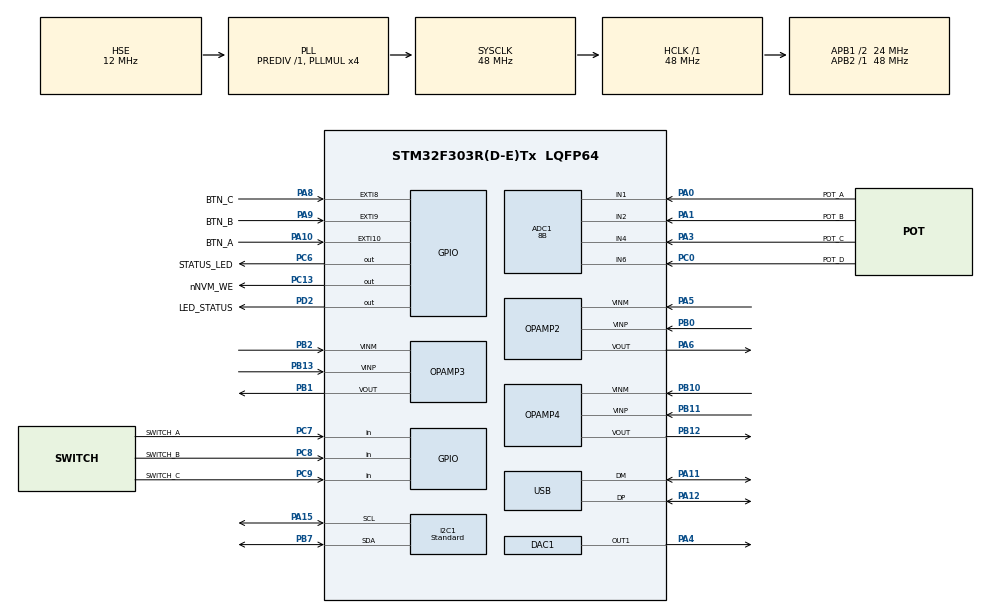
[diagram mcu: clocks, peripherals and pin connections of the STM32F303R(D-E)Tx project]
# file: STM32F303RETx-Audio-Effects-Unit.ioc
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ADC1.Channel-0\#ChannelRegularConversion=ADC_CHANNEL_1
ADC1.ContinuousConvMode=ENABLE
ADC1.DMAContinuousRequests=DISABLE
ADC1.EnableInjectedConversion=DISABLE
ADC1.NbrOfConversionFlag=1
ADC1.Offset-0\#ChannelRegularConversion=0
ADC1.OffsetNumber-0\#ChannelRegularConversion=ADC_OFFSET_NONE
ADC1.Rank-0\#ChannelRegularConversion=1
ADC1.Resolution=ADC_RESOLUTION_8B
ADC1.SamplingTime-0\#ChannelRegularConversion=ADC_SAMPLETIME_1CYCLE_5
ADC1.master=1
ADC3.Channel-0\#ChannelRegularConversion=ADC_CHANNEL_1
ADC3.ContinuousConvMode=ENABLE
ADC3.DMAContinuousRequests=ENABLE
ADC3.NbrOfConversionFlag=1
ADC3.Offset-0\#ChannelRegularConversion=0
ADC3.OffsetNumber-0\#ChannelRegularConversion=ADC_OFFSET_NONE
ADC3.Rank-0\#ChannelRegularConversion=1
ADC3.SamplingTime-0\#ChannelRegularConversion=ADC_SAMPLETIME_19CYCLES_5
ADC3.SamplingTimeOPAMP-0\#ChannelRegularConversion=ADC_SAMPLETIME_19CYCLES_5
ADC3.master=1
DAC1.DAC_Trigger=DAC_TRIGGER_T2_TRGO
Dma.ADC3.1.Direction=DMA_PERIPH_TO_MEMORY
Dma.ADC3.1.Instance=DMA2_Channel5
Dma.ADC3.1.MemDataAlignment=DMA_MDATAALIGN_HALFWORD
Dma.ADC3.1.MemInc=DMA_MINC_ENABLE
Dma.ADC3.1.Mode=DMA_CIRCULAR
Dma.ADC3.1.PeriphDataAlignment=DMA_PDATAALIGN_HALFWORD
Dma.ADC3.1.PeriphInc=DMA_PINC_DISABLE
Dma.ADC3.1.Priority=DMA_PRIORITY_LOW
Dma.DAC1_CH1.0.Direction=DMA_MEMORY_TO_PERIPH
Dma.DAC1_CH1.0.Instance=DMA1_Channel3
Dma.DAC1_CH1.0.MemDataAlignment=DMA_MDATAALIGN_HALFWORD
Dma.DAC1_CH1.0.MemInc=DMA_MINC_ENABLE
Dma.DAC1_CH1.0.Mode=DMA_CIRCULAR
Dma.DAC1_CH1.0.PeriphDataAlignment=DMA_PDATAALIGN_HALFWORD
Dma.DAC1_CH1.0.PeriphInc=DMA_PINC_DISABLE
Dma.DAC1_CH1.0.Priority=DMA_PRIORITY_LOW
Dma.MEMTOMEM.2.Direction=DMA_MEMORY_TO_MEMORY
Dma.MEMTOMEM.2.Instance=DMA1_Channel1
Dma.MEMTOMEM.2.MemDataAlignment=DMA_MDATAALIGN_HALFWORD
Dma.MEMTOMEM.2.MemInc=DMA_MINC_ENABLE
Dma.MEMTOMEM.2.Mode=DMA_NORMAL
Dma.MEMTOMEM.2.PeriphDataAlignment=DMA_PDATAALIGN_HALFWORD
Dma.MEMTOMEM.2.PeriphInc=DMA_PINC_ENABLE
Dma.MEMTOMEM.2.Priority=DMA_PRIORITY_LOW
Dma.Request0=DAC1_CH1
Dma.Request1=ADC3
Dma.Request2=MEMTOMEM
FREERTOS.BinarySemaphores01=delaySamplesDmaSemaphore,Static,delaySamplesDmaSemaphoreControlBlock;i2cCompletionSemaphore,Static,i2cCompletionSemaphoreControlBlock;i2cFailedRomSemaphore,Static,i2cFailedRomSemaphoreControlBlock;i2cFailedDisplaySemaphore,Static,i2cFailedDisplaySemaphoreControlBlock
FREERTOS.Queues01=i2cQueue,16,I2CHandlerMessage,0,Static,i2cQueueBuffer,i2cQueueControlBlock
FREERTOS.Tasks01=effectsTask,3,128,startEffectsTask,Default,NULL,Static,effectsTaskBuffer,effectsTaskControlBlock;btnHandlerTask,0,128,startBtnHandlerTask,Default,NULL,Static,btnHandlerTaskBuffer,btnHandlerTaskControlBlock;swHandlerTask,0,128,startSwHandlerTask,Default,NULL,Static,swHandlerTaskBuffer,swHandlerTaskControlBlock;potHandlerTask,0,128,startPotHandlerTask,Default,NULL,Static,potHandlerTaskBuffer,potHandlerTaskControlBlock;ledTask,0,128,startLedTask,Default,NULL,Static,ledTaskBuffer,ledTaskControlBlock;i2cHandlerTask,0,128,startI2cHandlerTask,Default,NULL,Static,i2cHandlerTaskBuffer,i2cHandlerTaskControlBlock;romHandlerTask,0,128,startRomHandlerTask,Default,NULL,Static,romHandlerTaskBuffer,romHandlerTaskControlBlock;displayHandlerTask,0,128,startDisplayHandlerTask,Default,NULL,Static,displayHandlerTaskBuffer,displayHandlerTaskControlBlock
FREERTOS.configMAX_TASK_NAME_LEN=24
FREERTOS.configUSE_COUNTING_SEMAPHORES=0
I2C1.I2C_Speed_Mode=I2C_Standard
I2C1.Timing=0x00201D2B
Mcu.Family=STM32F3
Mcu.Name=STM32F303R(D-E)Tx
Mcu.Package=LQFP64
NVIC.ADC1_2_IRQn=true\:5\:0\:false\:false\:true\:true\:true\:true\:true
NVIC.DMA1_Channel3_IRQn=true\:5\:0\:false\:false\:true\:true\:false\:true\:true
NVIC.DMA2_Channel5_IRQn=true\:5\:0\:false\:false\:true\:true\:false\:true\:true
NVIC.EXTI15_10_IRQn=true\:5\:0\:false\:false\:true\:true\:true\:true\:true
NVIC.EXTI9_5_IRQn=true\:5\:0\:false\:false\:true\:true\:true\:true\:true
NVIC.PriorityGroup=NVIC_PRIORITYGROUP_4
NVIC.TIM1_UP_TIM16_IRQn=true\:0\:0\:false\:false\:true\:false\:false\:true\:true
NVIC.TIM2_IRQn=true\:5\:0\:false\:false\:true\:true\:true\:true\:true
NVIC.TimeBase=TIM1_UP_TIM16_IRQn
NVIC.TimeBaseIP=TIM1
NVIC.USB_LP_CAN_RX0_IRQn=true\:5\:0\:false\:false\:true\:true\:false\:true\:true
PA0.GPIO_Label=POT_A
PA0.Mode=IN1-Single-Ended
PA0.Signal=ADC1_IN1
PA1.GPIO_Label=POT_B
PA1.Mode=IN2-Single-Ended
PA1.Signal=ADC1_IN2
PA10.GPIO_Label=BTN_A
PA10.Signal=GPXTI10
PA11.Mode=Device
PA11.Signal=USB_DM
PA12.Mode=Device
PA12.Signal=USB_DP
PA13.Mode=Trace_Asynchronous_SW
PA13.Signal=SYS_JTMS-SWDIO
PA14.Mode=Trace_Asynchronous_SW
PA14.Signal=SYS_JTCK-SWCLK
PA15.GPIO_Pu=GPIO_PULLUP
PA15.Mode=I2C
PA15.Signal=I2C1_SCL
PA3.GPIO_Label=POT_C
PA3.Mode=IN4-Single-Ended
PA3.Signal=ADC1_IN4
PA4.Signal=COMP_DAC11_group
PA5.Mode=Standalone
PA5.Signal=OPAMP2_VINM
PA6.Mode=Standalone
PA6.Signal=OPAMP2_VOUT
PA8.GPIO_Label=BTN_C
PA8.Signal=GPXTI8
PA9.GPIO_Label=BTN_B
PA9.Signal=GPXTI9
PB0.Mode=Standalone
PB0.Signal=OPAMP2_VINP
PB1.Mode=Standalone
PB1.Signal=OPAMP3_VOUT
PB10.Mode=Standalone
PB10.Signal=OPAMP4_VINM
PB11.Mode=Standalone
PB11.Signal=OPAMP4_VINP
PB12.Mode=Standalone
PB12.Signal=OPAMP4_VOUT
PB13.Mode=Standalone
PB13.Signal=OPAMP3_VINP
PB2.Mode=Standalone
PB2.Signal=OPAMP3_VINM
PB3.Mode=Trace_Asynchronous_SW
PB3.Signal=SYS_JTDO-TRACESWO
PB7.GPIO_Pu=GPIO_PULLUP
PB7.Mode=I2C
PB7.Signal=I2C1_SDA
PC0.GPIO_Label=POT_D
PC0.Signal=ADCx_IN6
PC13.GPIO_Label=nNVM_WE
PC13.PinState=GPIO_PIN_SET
PC13.Signal=GPIO_Output
PC6.GPIO_Label=STATUS_LED
PC6.Signal=GPIO_Output
PC7.GPIO_Label=SWITCH_A
PC7.Signal=GPIO_Input
PC8.GPIO_Label=SWITCH_B
PC8.Signal=GPIO_Input
PC9.GPIO_Label=SWITCH_C
PC9.Signal=GPIO_Input
PD2.GPIO_Label=LED_STATUS
PD2.Signal=GPIO_Output
PF0-OSC_IN.GPIO_Label=HSE_IN
PF0-OSC_IN.Mode=HSE-External-Oscillator
PF0-OSC_IN.Signal=RCC_OSC_IN
PF1-OSC_OUT.GPIO_Label=HSE_OUT
PF1-OSC_OUT.Mode=HSE-External-Oscillator
PF1-OSC_OUT.Signal=RCC_OSC_OUT
ProjectManager.HeapSize=0x200
ProjectManager.StackSize=0x400
ProjectManager.TargetToolchain=CMake
RCC.ADC12PRES=RCC_ADC12PLLCLK_DIV16
RCC.AHBFreq_Value=48000000
RCC.APB1CLKDivider=RCC_HCLK_DIV2
RCC.APB1Freq_Value=24000000
RCC.APB1TimFreq_Value=48000000
RCC.APB2Freq_Value=48000000
RCC.APB2TimFreq_Value=48000000
RCC.CortexFreq_Value=48000000
RCC.HCLKFreq_Value=48000000
RCC.HSE_VALUE=12000000
RCC.HSI_VALUE=8000000
RCC.LSE_VALUE=32768
RCC.PLLMUL=RCC_PLL_MUL4
RCC.SYSCLKFreq_VALUE=48000000
RCC.SYSCLKSourceVirtual=RCC_SYSCLKSOURCE_PLLCLK
RCC.USBFreq_Value=48000000
SH.ADCx_IN6.0=ADC1_IN6,IN6-Single-Ended
SH.COMP_DAC11_group.0=DAC1_OUT1,DAC_OUT1
TIM2.Channel-Output\ Compare1\ No\ Output=TIM_CHANNEL_1
TIM2.Period=1184
TIM2.Prescaler=1000-1
TIM2.TIM_MasterOutputTrigger=TIM_TRGO_UPDATE
USB_DEVICE.CLASS_NAME_FS=CDC
USB_DEVICE.CONFIGURATION_STRING_CDC_FS=CDC CLI
USB_DEVICE.MANUFACTURER_STRING=ou audio
USB_DEVICE.USBD_SELF_POWERED=0
USB_DEVICE.VirtualMode=Cdc
USB_DEVICE.VirtualModeFS=Cdc_FS
VP_ADC3_OPAMP_OUT3.Mode=IN1-OPAMP3-Single-Ended
VP_FREERTOS_VS_CMSIS_V1.Mode=CMSIS_V1
VP_SYS_VS_tim1.Mode=TIM1
VP_TIM2_VS_ClockSourceINT.Mode=Internal
VP_TIM2_VS_no_output1.Mode=Output Compare1 No Output
VP_USB_DEVICE_VS_USB_DEVICE_CDC_FS.Mode=CDC_FS
board=custom

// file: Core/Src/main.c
/* USER CODE BEGIN Header */
/**
 ******************************************************************************
 * @file           : main.c
 * @brief          : Main program body
 ******************************************************************************
 * @attention
 *
 * <h2><center>&copy; Copyright (c) 2021 STMicroelectronics.
 * All rights reserved.</center></h2>
 *
 * This software component is licensed by ST under Ultimate Liberty license
 * SLA0044, the "License"; You may not use this file except in compliance with
 * the License. You may obtain a copy of the License at:
 *                             www.st.com/SLA0044
 *
 ******************************************************************************
 */
/* USER CODE END Header */
#include "main.h"
#include "cmsis_os.h"
#include "usb_device.h"

/* USER CODE BEGIN Includes */
#include <stdbool.h>
#include <string.h>
#include "log.h"
#include "button_task.h"
#include "cli_session.h"
#include "cli_service_adapter.h"
#include "effects_model.h"
#include "effects_pipeline.h"
#include "effects_task.h"
#include "i2c_handler.h"
#include "i2c_task_support.h"
#include "peripheral_dispatch.h"
#include "pot_task.h"
#include "rom_task_support.h"
#include "switch_task.h"
#include "usbd_cdc_if.h"
/* USER CODE END Includes */

/* USER CODE BEGIN PD */

/* Data convention definitions */
#ifndef X_AXIS
#define X_AXIS (UINT16_MAX / 2) // x-axis, the median representable signal using uint16
#endif

#ifndef FIXED_POINT_Q
#define FIXED_POINT_Q 8 // N in QN for fixed-point numbers
#endif

/* Buffer size definitions */
#define SAMPLE_BUF_LEN 405               // One buffer of samples (same size for both ADC and DAC
#define ADC_BUF_LEN (2 * SAMPLE_BUF_LEN) // Ping-pong buffer (circular buffer of 2 buffers)
#define DAC_BUF_LEN ADC_BUF_LEN          // Each ADC buffer has a corresponding DAC buffer for processed samples

#define NUM_DELAY_SAMPLES MAX_ECHO_DELAY_SAMPLES // Number of extra delayed samples for echo

/* I2C Device Addresses */
#define DISPLAY_I2C_ADDR 0x3C
#define ROM_I2C_ADDR 0xA0
#define CLI_USB_RX_BYTE_QUEUE_CAPACITY 256U

/* USER CODE END PD */

ADC_HandleTypeDef hadc1;
ADC_HandleTypeDef hadc3;
DMA_HandleTypeDef hdma_adc3;

DAC_HandleTypeDef hdac1;
DMA_HandleTypeDef hdma_dac1_ch1;

I2C_HandleTypeDef hi2c1;

OPAMP_HandleTypeDef hopamp2;
OPAMP_HandleTypeDef hopamp3;
OPAMP_HandleTypeDef hopamp4;

TIM_HandleTypeDef htim2;

DMA_HandleTypeDef hdma_memtomem_dma1_channel1;
osThreadId effectsTaskHandle;
uint32_t effectsTaskBuffer[128];
osStaticThreadDef_t effectsTaskControlBlock;
osThreadId btnHandlerTaskHandle;
uint32_t btnHandlerTaskBuffer[128];
osStaticThreadDef_t btnHandlerTaskControlBlock;
osThreadId swHandlerTaskHandle;
uint32_t swHandlerTaskBuffer[128];
osStaticThreadDef_t swHandlerTaskControlBlock;
osThreadId potHandlerTaskHandle;
uint32_t potHandlerTaskBuffer[128];
osStaticThreadDef_t potHandlerTaskControlBlock;
osThreadId ledTaskHandle;
uint32_t ledTaskBuffer[128];
osStaticThreadDef_t ledTaskControlBlock;
osThreadId i2cHandlerTaskHandle;
uint32_t i2cHandlerTaskBuffer[128];
osStaticThreadDef_t i2cHandlerTaskControlBlock;
osThreadId romHandlerTaskHandle;
uint32_t romHandlerTaskBuffer[128];
osStaticThreadDef_t romHandlerTaskControlBlock;
osThreadId displayHandlerTaskHandle;
uint32_t displayHandlerTaskBuffer[128];
osStaticThreadDef_t displayHandlerTaskControlBlock;
osMessageQId i2cQueueHandle;
uint8_t i2cQueueBuffer[16 * sizeof(I2CHandlerMessage)];
osStaticMessageQDef_t i2cQueueControlBlock;
osSemaphoreId delaySamplesDmaSemaphoreHandle;
osSemaphoreId i2cCompletionSemaphoreHandle;
osSemaphoreId i2cFailedRomSemaphoreHandle;
osSemaphoreId i2cFailedDisplaySemaphoreHandle;
/* USER CODE BEGIN PV */

/* Structure to keep track of the effects group configuration state */
static volatile EffectsState effects_state;

/* Structure to manage individual effects' configurations (including min/max values) */
static volatile EffectsParams effects_params;

/* Set by I2C ISR callbacks and consumed by i2c handler task. */
static volatile bool i2c_transfer_failed = true;

static I2CTaskSupportContext i2c_task_support_context;
static I2CHandlerConfig i2c_handler_config;
static I2CHandlerOps i2c_handler_ops;
static PeripheralDispatchContext peripheral_dispatch_context;
static PeripheralDispatchOps peripheral_dispatch_ops;
static RomTaskSupportConfig rom_task_support_config;
static RomTaskSupportOps rom_task_support_ops;
static CliServiceAdapter cli_service_adapter_context;

/* DMA buffer for ADC samples (note: samples are in order of decreasing age) */
static volatile uint16_t adc_buf[ADC_BUF_LEN] = {0};

/* Pointers to each half of ADC/DMA buffer for ping-pong buffering
                (note: DMA sees one buffer, alternating between the two) */
static volatile uint16_t *const adc_buf_a = adc_buf;
static volatile uint16_t *const adc_buf_b = &adc_buf[SAMPLE_BUF_LEN];

/* Buffer for filter outputs (note: samples are in order of decreasing age) */
static volatile uint16_t dac_buf[DAC_BUF_LEN] = {0};

/* Pointers to each half of the output buffer, either buffer may be used at a time */
static volatile uint16_t *const dac_buf_a = dac_buf;
static volatile uint16_t *const dac_buf_b = &dac_buf[DAC_BUF_LEN / 2];

static CliServices cli_services;
static CliSession cli_session;
static uint8_t cli_usb_rx_bytes[CLI_USB_RX_BYTE_QUEUE_CAPACITY];
static uint16_t cli_usb_rx_head;
static uint16_t cli_usb_rx_tail;
static uint16_t cli_usb_rx_count;

/* USER CODE END PV */

void SystemClock_Config(void);
static void MX_GPIO_Init(void);
static void MX_DMA_Init(void);
static void MX_DAC1_Init(void);
static void MX_OPAMP2_Init(void);
static void MX_TIM2_Init(void);
static void MX_ADC1_Init(void);
static void MX_OPAMP3_Init(void);
static void MX_I2C1_Init(void);
static void MX_OPAMP4_Init(void);
static void MX_ADC3_Init(void);
void startEffectsTask(void const *argument);
void startBtnHandlerTask(void const *argument);
void startSwHandlerTask(void const *argument);
void startPotHandlerTask(void const *argument);
void startLedTask(void const *argument);
void startI2cHandlerTask(void const *argument);
void startRomHandlerTask(void const *argument);
void startDisplayHandlerTask(void const *argument);

/* USER CODE BEGIN PFP */
static bool peripheral_semaphore_take(void *semaphore_handle, uint32_t timeout_ticks, void *context);
static void peripheral_task_notify_from_isr(void *task_handle, uint32_t value, void *context);
static void peripheral_semaphore_give_from_isr(void *semaphore_handle, void *context);
static bool peripheral_dma_start_it(void *dma_handle, uint32_t src_address, uint32_t dst_address,
                                    uint32_t data_length, void *context);
static bool peripheral_adc_config_channel(void *adc_handle, void *config, void *context);
static bool peripheral_adc_start_it(void *adc_handle, void *context);
static uint32_t peripheral_adc_get_value(void *adc_handle, void *context);
static void peripheral_i2c_signal_completion_from_isr(void *i2c_context, bool transfer_failed, void *context);

static bool effects_task_wait_for_adc_buffer(uint32_t timeout_ticks, uint16_t **buf_ptr, void *context);
static bool effects_task_wait_for_dac_buffer(uint32_t timeout_ticks, uint16_t **buf_ptr, void *context);
static bool effects_task_dma_copy(const uint16_t *src, uint16_t *dst, size_t count, uint32_t timeout_ticks,
                                  void *context);
static bool effects_task_read_latched_state(EffectsState *state, EffectsParams *params, void *context);
static uint32_t effects_task_ms_to_ticks(uint32_t ms, void *context);

static bool pot_task_start_adc(uint8_t pot_index, void *context);
static bool pot_task_wait_for_sample(uint32_t timeout_ticks, uint32_t *value_out, void *context);
static bool pot_task_read_active_effect(Effect *active_effect, void *context);
static void pot_task_apply_sample(Effect active_effect, uint8_t pot_index, uint32_t adc_value,
                                  uint32_t adc_max, void *context);

static bool switch_task_read_switch(uint8_t index, bool *enabled_out, void *context);
static bool switch_task_read_state(EffectsState *state_out, void *context);
static bool switch_task_write_state(const EffectsState *state, void *context);
static void switch_task_sleep_ms(uint32_t ms, void *context);

static bool button_task_wait_for_button(uint16_t *pin_out, void *context);
static void button_task_dispatch(uint16_t pin, void *context);

static uint8_t *allocate_payload_adapter(size_t size, void *context);
static void free_payload_adapter(uint8_t *payload, void *context);
static void set_rom_write_disable_adapter(bool disable_writes, void *context);
static bool log_is_enabled(void *context);
static uint8_t log_get_level(void *context);
static bool log_write_line(const char *line, void *context);
static void cli_service_lock(void *context);
static void cli_service_unlock(void *context);
static void cli_system_reboot(void *context);
static void init_cli_service_adapter(void);
static bool cli_usb_write(const char *text, void *context);
static void cli_usb_rx_queue_push_byte(uint8_t byte);
static bool cli_usb_rx_queue_pop_byte(uint8_t *byte_out);
static void init_peripheral_dispatch(void);
static uint32_t tim_get_update_rate_hz(const TIM_HandleTypeDef *timer_handle, uint32_t timer_clock_hz);
static uint32_t sampling_period_us_from_rate_hz(uint32_t sample_rate_hz);

void usb_cdc_rx_bytes_callback(const uint8_t *bytes, uint32_t byte_count);

/* USER CODE END PFP */

/* USER CODE BEGIN 0 */

static bool peripheral_semaphore_take(void *semaphore_handle, uint32_t timeout_ticks, void *context)
{
    (void)context;
    return xSemaphoreTake((osSemaphoreId)semaphore_handle, (TickType_t)timeout_ticks) == pdTRUE;
}

static void peripheral_task_notify_from_isr(void *task_handle, uint32_t value, void *context)
{
    (void)context;

    if (task_handle == NULL)
    {
        return;
    }

    BaseType_t higher_priority_task_woken = pdFALSE;
    xTaskNotifyFromISR((osThreadId)task_handle, value, eSetValueWithOverwrite, &higher_priority_task_woken);
    portYIELD_FROM_ISR(higher_priority_task_woken);
}

static void peripheral_semaphore_give_from_isr(void *semaphore_handle, void *context)
{
    (void)context;

    if (semaphore_handle == NULL)
    {
        return;
    }

    BaseType_t higher_priority_task_woken = pdFALSE;
    xSemaphoreGiveFromISR((osSemaphoreId)semaphore_handle, &higher_priority_task_woken);
    portYIELD_FROM_ISR(higher_priority_task_woken);
}

static bool peripheral_dma_start_it(void *dma_handle, uint32_t src_address, uint32_t dst_address,
                                    uint32_t data_length, void *context)
{
    (void)context;

    if (dma_handle == NULL)
    {
        return false;
    }

    return HAL_DMA_Start_IT((DMA_HandleTypeDef *)dma_handle, src_address, dst_address, data_length) == HAL_OK;
}

static bool peripheral_adc_config_channel(void *adc_handle, void *config, void *context)
{
    (void)context;

    if (adc_handle == NULL || config == NULL)
    {
        return false;
    }

    return HAL_ADC_ConfigChannel((ADC_HandleTypeDef *)adc_handle,
                                 (ADC_ChannelConfTypeDef *)config) == HAL_OK;
}

static bool peripheral_adc_start_it(void *adc_handle, void *context)
{
    (void)context;

    if (adc_handle == NULL)
    {
        return false;
    }

    return HAL_ADC_Start_IT((ADC_HandleTypeDef *)adc_handle) == HAL_OK;
}

static uint32_t peripheral_adc_get_value(void *adc_handle, void *context)
{
    (void)context;

    if (adc_handle == NULL)
    {
        return 0;
    }

    return HAL_ADC_GetValue((ADC_HandleTypeDef *)adc_handle);
}

static void peripheral_i2c_signal_completion_from_isr(void *i2c_context, bool transfer_failed, void *context)
{
    (void)context;
    i2c_task_signal_completion_from_isr((const I2CTaskSupportContext *)i2c_context, transfer_failed);
}

static bool effects_task_wait_for_adc_buffer(uint32_t timeout_ticks, uint16_t **buf_ptr, void *context)
{
    (void)context;

    if (buf_ptr == NULL)
    {
        return false;
    }

    uint32_t notification_value;
    if (xTaskNotifyWait(0, 0xFFFFFFFFUL, &notification_value, (TickType_t)timeout_ticks) != pdTRUE)
    {
        return false;
    }

    // NOLINTNEXTLINE(performance-no-int-to-ptr): task notification carries an address-sized payload.
    *buf_ptr = (uint16_t *)(uintptr_t)notification_value;
    return true;
}

static bool effects_task_wait_for_dac_buffer(uint32_t timeout_ticks, uint16_t **buf_ptr, void *context)
{
    return effects_task_wait_for_adc_buffer(timeout_ticks, buf_ptr, context);
}

static bool effects_task_dma_copy(const uint16_t *src, uint16_t *dst, size_t count, uint32_t timeout_ticks,
                                  void *context)
{
    (void)context;

    return peripheral_start_dma_transfer_and_wait(&hdma_memtomem_dma1_channel1,
                                                  (uint32_t)src,
                                                  (uint32_t)dst,
                                                  count,
                                                  delaySamplesDmaSemaphoreHandle,
                                                  timeout_ticks,
                                                  &peripheral_dispatch_ops);
}

static bool effects_task_read_latched_state(EffectsState *state, EffectsParams *params, void *context)
{
    (void)context;

    if (state == NULL || params == NULL)
    {
        return false;
    }

    taskENTER_CRITICAL();
    *state = effects_state;
    *params = effects_params;
    taskEXIT_CRITICAL();
    return true;
}

static uint32_t effects_task_ms_to_ticks(uint32_t ms, void *context)
{
    (void)context;
    return pdMS_TO_TICKS(ms);
}

static bool pot_task_start_adc(uint8_t pot_index, void *context)
{
    (void)context;

    ADC_ChannelConfTypeDef s_config;
    s_config.Channel = ADC_CHANNEL_1;
    s_config.Rank = ADC_REGULAR_RANK_1;
    s_config.SingleDiff = ADC_SINGLE_ENDED;
    s_config.SamplingTime = ADC_SAMPLETIME_1CYCLE_5;
    s_config.OffsetNumber = ADC_OFFSET_NONE;
    s_config.Offset = 0;

    switch (pot_index)
    {
    case 0:
        s_config.Channel = ADC_CHANNEL_1;
        break;
    case 1:
        s_config.Channel = ADC_CHANNEL_2;
        break;
    case 2:
        s_config.Channel = ADC_CHANNEL_4;
        break;
    case 3:
        s_config.Channel = ADC_CHANNEL_6;
        break;
    default:
        return false;
    }

    return peripheral_start_adc_conversion_it(&hadc1, &s_config, &peripheral_dispatch_ops);
}

static bool pot_task_wait_for_sample(uint32_t timeout_ticks, uint32_t *value_out, void *context)
{
    (void)context;

    if (value_out == NULL)
    {
        return false;
    }

    return xTaskNotifyWait(0, 0xFFFFFFFFUL, value_out, (TickType_t)timeout_ticks) == pdTRUE;
}

static bool pot_task_read_active_effect(Effect *active_effect, void *context)
{
    (void)context;

    if (active_effect == NULL)
    {
        return false;
    }

    EffectsState latched_effects_state;

    taskENTER_CRITICAL();
    latched_effects_state = effects_state;
    taskEXIT_CRITICAL();

    effects_state_normalize(&latched_effects_state);

    return effects_state_get_active_effect(&latched_effects_state, active_effect);
}

static void pot_task_apply_sample(Effect active_effect, uint8_t pot_index, uint32_t adc_value,
                                  uint32_t adc_max, void *context)
{
    (void)adc_max;

    CliServiceAdapter *adapter_context = (CliServiceAdapter *)context;
    if (adapter_context != NULL)
    {
        (void)cli_service_adapter_apply_pot_sample(adapter_context, active_effect, pot_index, adc_value);
        return;
    }

    taskENTER_CRITICAL();
    (void)effects_params_apply_pot_sample((EffectsParams *)&effects_params, active_effect, pot_index,
                                          adc_value, UINT8_MAX);
    taskEXIT_CRITICAL();
}

static bool switch_task_read_switch(uint8_t index, bool *enabled_out, void *context)
{
    (void)context;

    if (enabled_out == NULL)
    {
        return false;
    }

    uint16_t pin = 0;
    GPIO_TypeDef *port = NULL;

    switch (index)
    {
    case 0:
        // NOLINTNEXTLINE(performance-no-int-to-ptr): STM32 HAL port macros expand to pointer casts.
        port = SWITCH_A_GPIO_Port;
        pin = SWITCH_A_Pin;
        break;
    case 1:
        // NOLINTNEXTLINE(performance-no-int-to-ptr): STM32 HAL port macros expand to pointer casts.
        port = SWITCH_B_GPIO_Port;
        pin = SWITCH_B_Pin;
        break;
    case 2:
        // NOLINTNEXTLINE(performance-no-int-to-ptr): STM32 HAL port macros expand to pointer casts.
        port = SWITCH_C_GPIO_Port;
        pin = SWITCH_C_Pin;
        break;
    default:
        return false;
    }

    *enabled_out = HAL_GPIO_ReadPin(port, pin) == GPIO_PIN_SET;
    return true;
}

static bool switch_task_read_state(EffectsState *state_out, void *context)
{
    (void)context;

    if (state_out == NULL)
    {
        return false;
    }

    taskENTER_CRITICAL();
    *state_out = effects_state;
    taskEXIT_CRITICAL();

    return true;
}

static bool switch_task_write_state(const EffectsState *state, void *context)
{
    if (state == NULL)
    {
        return false;
    }

    CliServiceAdapter *adapter_context = (CliServiceAdapter *)context;
    if (adapter_context != NULL)
    {
        const bool switch_a_enabled = state->slot_enabled[0];
        const bool switch_b_enabled = state->slot_enabled[1];
        const bool switch_c_enabled = state->slot_enabled[2];
        return cli_service_adapter_apply_switches(adapter_context,
                                                  switch_a_enabled,
                                                  switch_b_enabled,
                                                  switch_c_enabled);
    }

    taskENTER_CRITICAL();
    effects_state = *state;
    taskEXIT_CRITICAL();

    return true;
}

static void switch_task_sleep_ms(uint32_t ms, void *context)
{
    (void)context;
    osDelay(ms);
}

static bool button_task_wait_for_button(uint16_t *pin_out, void *context)
{
    (void)context;

    if (pin_out == NULL)
    {
        return false;
    }

    uint32_t notification_value;
    if (xTaskNotifyWait(0, 0xFFFFFFFFUL, &notification_value, portMAX_DELAY) != pdTRUE)
    {
        return false;
    }

    *pin_out = (uint16_t)notification_value;
    return true;
}

static void button_task_dispatch(uint16_t pin, void *context)
{
    (void)context;
    (void)pin;
}

static uint8_t *allocate_payload_adapter(size_t size, void *context)
{
    (void)context;

    return (uint8_t *)pvPortMalloc(size);
}

static void free_payload_adapter(uint8_t *payload, void *context)
{
    (void)context;

    if (payload != NULL)
    {
        vPortFree(payload);
    }
}

static void set_rom_write_disable_adapter(bool disable_writes, void *context)
{
    (void)context;

    // NOLINTNEXTLINE(performance-no-int-to-ptr): STM32 HAL port macros expand to pointer casts.
    HAL_GPIO_WritePin(nNVM_WE_GPIO_Port, nNVM_WE_Pin,
                      disable_writes ? GPIO_PIN_SET : GPIO_PIN_RESET);
}

static bool log_is_enabled(void *context)
{
    bool enabled = false;
    return cli_service_adapter_get_log_enabled((CliServiceAdapter *)context, &enabled) &&
           enabled;
}

static uint8_t log_get_level(void *context)
{
    uint8_t level = 0;
    if (!cli_service_adapter_get_log_level((CliServiceAdapter *)context, &level))
    {
        return 0;
    }

    return level;
}

static bool log_write_line(const char *line, void *context)
{
    return cli_service_adapter_append_log_line((CliServiceAdapter *)context, line);
}

static void cli_service_lock(void *context)
{
    (void)context;
    taskENTER_CRITICAL();
}

static void cli_service_unlock(void *context)
{
    (void)context;
    taskEXIT_CRITICAL();
}

static void init_cli_service_adapter(void)
{
    CliServiceAdapterOps ops = {
        .lock = cli_service_lock,
        .unlock = cli_service_unlock,
        .rom_save_state = NULL,
        .rom_load_state = NULL,
        .rom_read_raw = NULL,
        .rom_write_raw = NULL,
        .log_set_level = NULL,
        .log_set_enabled = NULL,
        .system_reboot = cli_system_reboot,
        .context = NULL,
    };

    cli_service_adapter_init(&cli_service_adapter_context,
                             (EffectsState *)&effects_state,
                             (EffectsParams *)&effects_params,
                             &ops,
                             UINT8_MAX);

    LogOps log_ops = {
        .is_enabled = log_is_enabled,
        .get_level = log_get_level,
        .write_line = log_write_line,
        .context = &cli_service_adapter_context,
    };
    log_configure(&log_ops);

    cli_usb_rx_head = 0;
    cli_usb_rx_tail = 0;
    cli_usb_rx_count = 0;
}

static bool cli_usb_write(const char *text, void *context)
{
    (void)context;

    if (text == NULL)
    {
        return false;
    }

    const size_t length = strlen(text);
    if (length == 0 || length > UINT16_MAX)
    {
        return false;
    }

    for (uint8_t attempts = 0; attempts < 10; attempts++)
    {
        const uint8_t result = CDC_Transmit_FS((uint8_t *)text, (uint16_t)length);
        if (result == USBD_OK)
        {
            return true;
        }

        if (result != USBD_BUSY)
        {
            return false;
        }

        osDelay(1);
    }

    return false;
}

void usb_cdc_rx_bytes_callback(const uint8_t *bytes, uint32_t byte_count)
{
    __disable_irq();
    for (uint32_t i = 0; i < byte_count; i++)
    {
        cli_usb_rx_queue_push_byte(bytes[i]);
    }
    __enable_irq();
}

static void cli_usb_rx_queue_push_byte(uint8_t byte)
{
    if (cli_usb_rx_count >= CLI_USB_RX_BYTE_QUEUE_CAPACITY)
    {
        cli_usb_rx_head = (uint16_t)((cli_usb_rx_head + 1U) % CLI_USB_RX_BYTE_QUEUE_CAPACITY);
        cli_usb_rx_count--;
    }

    cli_usb_rx_bytes[cli_usb_rx_tail] = byte;
    cli_usb_rx_tail = (uint16_t)((cli_usb_rx_tail + 1U) % CLI_USB_RX_BYTE_QUEUE_CAPACITY);
    cli_usb_rx_count++;
}

static bool cli_usb_rx_queue_pop_byte(uint8_t *byte_out)
{
    if (byte_out == NULL)
    {
        return false;
    }

    __disable_irq();
    if (cli_usb_rx_count == 0)
    {
        __enable_irq();
        return false;
    }

    *byte_out = cli_usb_rx_bytes[cli_usb_rx_head];
    cli_usb_rx_head = (uint16_t)((cli_usb_rx_head + 1U) % CLI_USB_RX_BYTE_QUEUE_CAPACITY);
    cli_usb_rx_count--;
    __enable_irq();

    return true;
}

static uint32_t tim_get_update_rate_hz(const TIM_HandleTypeDef *timer_handle, uint32_t timer_clock_hz)
{
    if (timer_handle == NULL)
    {
        return 0U;
    }

    const uint32_t prescaler_divisor = (uint32_t)timer_handle->Init.Prescaler + 1U;
    const uint32_t period_divisor = (uint32_t)timer_handle->Init.Period + 1U;

    return timer_clock_hz / prescaler_divisor / period_divisor;
}

static uint32_t sampling_period_us_from_rate_hz(uint32_t sample_rate_hz)
{
    const uint32_t micros_per_second = 1000000UL;

    if (sample_rate_hz == 0U)
    {
        return 0U;
    }

    return micros_per_second / sample_rate_hz;
}

static void init_peripheral_dispatch(void)
{
    peripheral_dispatch_context.effects_task_handle = effectsTaskHandle;
    peripheral_dispatch_context.pot_handler_task_handle = potHandlerTaskHandle;
    peripheral_dispatch_context.btn_handler_task_handle = btnHandlerTaskHandle;
    peripheral_dispatch_context.effects_adc_handle = &hadc3;
    peripheral_dispatch_context.pot_adc_handle = &hadc1;
    peripheral_dispatch_context.i2c_handle = &hi2c1;
    peripheral_dispatch_context.mem_to_mem_dma_handle = &hdma_memtomem_dma1_channel1;
    peripheral_dispatch_context.i2c_task_support_context = &i2c_task_support_context;
    peripheral_dispatch_context.delay_samples_dma_semaphore_handle = delaySamplesDmaSemaphoreHandle;
    peripheral_dispatch_context.adc_buf_a = (void *)adc_buf_a;
    peripheral_dispatch_context.adc_buf_b = (void *)adc_buf_b;
    peripheral_dispatch_context.dac_buf_a = (void *)dac_buf_a;
    peripheral_dispatch_context.dac_buf_b = (void *)dac_buf_b;

    peripheral_dispatch_ops.semaphore_take = peripheral_semaphore_take;
    peripheral_dispatch_ops.task_notify_from_isr = peripheral_task_notify_from_isr;
    peripheral_dispatch_ops.semaphore_give_from_isr = peripheral_semaphore_give_from_isr;
    peripheral_dispatch_ops.dma_start_it = peripheral_dma_start_it;
    peripheral_dispatch_ops.adc_config_channel = peripheral_adc_config_channel;
    peripheral_dispatch_ops.adc_start_it = peripheral_adc_start_it;
    peripheral_dispatch_ops.adc_get_value = peripheral_adc_get_value;
    peripheral_dispatch_ops.i2c_signal_completion_from_isr = peripheral_i2c_signal_completion_from_isr;
    peripheral_dispatch_ops.context = NULL;
}

static void cli_system_reboot(void *context)
{
    (void)context;
    NVIC_SystemReset();
}

/* USER CODE END 0 */

int main(void)
{

    /* MCU Configuration--------------------------------------------------------*/

    /* Reset of all peripherals, Initializes the Flash interface and the Systick. */
    HAL_Init();

    /* Configure the system clock */
    SystemClock_Config();

    /* Initialize all configured peripherals */
    MX_GPIO_Init();
    MX_DMA_Init();
    MX_DAC1_Init();
    MX_OPAMP2_Init();
    MX_TIM2_Init();
    MX_ADC1_Init();
    MX_OPAMP3_Init();
    MX_I2C1_Init();
    MX_OPAMP4_Init();
    MX_ADC3_Init();

    /* Create the semaphores(s) */
    /* definition and creation of delaySamplesDmaSemaphore */
    osSemaphoreDef(delaySamplesDmaSemaphore);
    delaySamplesDmaSemaphoreHandle = osSemaphoreCreate(osSemaphore(delaySamplesDmaSemaphore), 1);

    /* definition and creation of i2cCompletionSemaphore */
    osSemaphoreDef(i2cCompletionSemaphore);
    i2cCompletionSemaphoreHandle = osSemaphoreCreate(osSemaphore(i2cCompletionSemaphore), 1);

    /* definition and creation of i2cFailedRomSemaphore */
    osSemaphoreDef(i2cFailedRomSemaphore);
    i2cFailedRomSemaphoreHandle = osSemaphoreCreate(osSemaphore(i2cFailedRomSemaphore), 1);

    /* definition and creation of i2cFailedDisplaySemaphore */
    osSemaphoreDef(i2cFailedDisplaySemaphore);
    i2cFailedDisplaySemaphoreHandle = osSemaphoreCreate(osSemaphore(i2cFailedDisplaySemaphore), 1);

    /* USER CODE BEGIN RTOS_SEMAPHORES */
    /* add semaphores, ... */
    PeripheralDispatchOps drain_ops = {
        .semaphore_take = peripheral_semaphore_take,
        .task_notify_from_isr = NULL,
        .semaphore_give_from_isr = NULL,
        .dma_start_it = NULL,
        .adc_config_channel = NULL,
        .adc_start_it = NULL,
        .adc_get_value = NULL,
        .i2c_signal_completion_from_isr = NULL,
        .context = NULL,
    };
    peripheral_drain_semaphore(delaySamplesDmaSemaphoreHandle, &drain_ops);
    peripheral_drain_semaphore(i2cCompletionSemaphoreHandle, &drain_ops);
    peripheral_drain_semaphore(i2cFailedRomSemaphoreHandle, &drain_ops);
    peripheral_drain_semaphore(i2cFailedDisplaySemaphoreHandle, &drain_ops);
    /* USER CODE END RTOS_SEMAPHORES */

    /* Create the queue(s) */
    /* definition and creation of i2cQueue */
    osMessageQStaticDef(i2cQueue, 16, I2CHandlerMessage, i2cQueueBuffer, &i2cQueueControlBlock);
    i2cQueueHandle = osMessageCreate(osMessageQ(i2cQueue), NULL);

    /* Create the thread(s) */
    /* definition and creation of effectsTask */
    osThreadStaticDef(effectsTask, startEffectsTask, osPriorityRealtime, 0, 128, effectsTaskBuffer, &effectsTaskControlBlock);
    effectsTaskHandle = osThreadCreate(osThread(effectsTask), NULL);

    /* definition and creation of btnHandlerTask */
    osThreadStaticDef(btnHandlerTask, startBtnHandlerTask, osPriorityNormal, 0, 128, btnHandlerTaskBuffer, &btnHandlerTaskControlBlock);
    btnHandlerTaskHandle = osThreadCreate(osThread(btnHandlerTask), NULL);

    /* definition and creation of swHandlerTask */
    osThreadStaticDef(swHandlerTask, startSwHandlerTask, osPriorityNormal, 0, 128, swHandlerTaskBuffer, &swHandlerTaskControlBlock);
    swHandlerTaskHandle = osThreadCreate(osThread(swHandlerTask), NULL);

    /* definition and creation of potHandlerTask */
    osThreadStaticDef(potHandlerTask, startPotHandlerTask, osPriorityNormal, 0, 128, potHandlerTaskBuffer, &potHandlerTaskControlBlock);
    potHandlerTaskHandle = osThreadCreate(osThread(potHandlerTask), NULL);

    /* definition and creation of ledTask */
    osThreadStaticDef(ledTask, startLedTask, osPriorityNormal, 0, 128, ledTaskBuffer, &ledTaskControlBlock);
    ledTaskHandle = osThreadCreate(osThread(ledTask), NULL);

    /* definition and creation of i2cHandlerTask */
    osThreadStaticDef(i2cHandlerTask, startI2cHandlerTask, osPriorityNormal, 0, 128, i2cHandlerTaskBuffer, &i2cHandlerTaskControlBlock);
    i2cHandlerTaskHandle = osThreadCreate(osThread(i2cHandlerTask), NULL);

    /* definition and creation of romHandlerTask */
    osThreadStaticDef(romHandlerTask, startRomHandlerTask, osPriorityNormal, 0, 128, romHandlerTaskBuffer, &romHandlerTaskControlBlock);
    romHandlerTaskHandle = osThreadCreate(osThread(romHandlerTask), NULL);

    /* definition and creation of displayHandlerTask */
    osThreadStaticDef(displayHandlerTask, startDisplayHandlerTask, osPriorityNormal, 0, 128, displayHandlerTaskBuffer, &displayHandlerTaskControlBlock);
    displayHandlerTaskHandle = osThreadCreate(osThread(displayHandlerTask), NULL);

    /* USER CODE BEGIN RTOS_THREADS */
    /* add threads, ... */
    i2c_task_support_init(&i2c_task_support_context, &i2c_handler_config, &i2c_handler_ops,
                          &hi2c1,
                          romHandlerTaskHandle,
                          displayHandlerTaskHandle,
                          i2cCompletionSemaphoreHandle,
                          i2cFailedRomSemaphoreHandle,
                          i2cFailedDisplaySemaphoreHandle,
                          &i2c_transfer_failed);

    init_peripheral_dispatch();

    init_cli_service_adapter();

    rom_task_support_init(&rom_task_support_config,
                          &rom_task_support_ops,
                          romHandlerTaskHandle,
                          i2cQueueHandle,
                          i2cFailedRomSemaphoreHandle,
                          (ROM_I2C_ADDR << 1) & ~1U,
                          0,
                          0,
                          pdMS_TO_TICKS(100),
                          pdMS_TO_TICKS(5000),
                          i2c_task_queue_message_and_wait,
                          allocate_payload_adapter,
                          free_payload_adapter,
                          set_rom_write_disable_adapter,
                          NULL);
    /* USER CODE END RTOS_THREADS */

    /* Start scheduler */
    osKernelStart();

    /* We should never get here as control is now taken by the scheduler */

    /* Infinite loop */
    while (1)
    {

    }
}

void SystemClock_Config(void)
{
    RCC_OscInitTypeDef RCC_OscInitStruct = {0};
    RCC_ClkInitTypeDef RCC_ClkInitStruct = {0};
    RCC_PeriphCLKInitTypeDef PeriphClkInit = {0};

    /** Initializes the RCC Oscillators according to the specified parameters
     * in the RCC_OscInitTypeDef structure.
     */
    RCC_OscInitStruct.OscillatorType = RCC_OSCILLATORTYPE_HSI | RCC_OSCILLATORTYPE_HSE;
    RCC_OscInitStruct.HSEState = RCC_HSE_ON;
    RCC_OscInitStruct.HSIState = RCC_HSI_ON;
    RCC_OscInitStruct.HSICalibrationValue = RCC_HSICALIBRATION_DEFAULT;
    RCC_OscInitStruct.PLL.PLLState = RCC_PLL_ON;
    RCC_OscInitStruct.PLL.PLLSource = RCC_PLLSOURCE_HSE;
    RCC_OscInitStruct.PLL.PLLMUL = RCC_PLL_MUL4;
    RCC_OscInitStruct.PLL.PREDIV = RCC_PREDIV_DIV1;
    if (HAL_RCC_OscConfig(&RCC_OscInitStruct) != HAL_OK)
    {
        Error_Handler();
    }

    /** Initializes the CPU, AHB and APB buses clocks
     */
    RCC_ClkInitStruct.ClockType = RCC_CLOCKTYPE_HCLK | RCC_CLOCKTYPE_SYSCLK | RCC_CLOCKTYPE_PCLK1 | RCC_CLOCKTYPE_PCLK2;
    RCC_ClkInitStruct.SYSCLKSource = RCC_SYSCLKSOURCE_PLLCLK;
    RCC_ClkInitStruct.AHBCLKDivider = RCC_SYSCLK_DIV1;
    RCC_ClkInitStruct.APB1CLKDivider = RCC_HCLK_DIV2;
    RCC_ClkInitStruct.APB2CLKDivider = RCC_HCLK_DIV1;

    if (HAL_RCC_ClockConfig(&RCC_ClkInitStruct, FLASH_LATENCY_1) != HAL_OK)
    {
        Error_Handler();
    }
    PeriphClkInit.PeriphClockSelection = RCC_PERIPHCLK_USB | RCC_PERIPHCLK_I2C1 | RCC_PERIPHCLK_ADC12 | RCC_PERIPHCLK_ADC34 | RCC_PERIPHCLK_TIM2;
    PeriphClkInit.Adc12ClockSelection = RCC_ADC12PLLCLK_DIV16;
    PeriphClkInit.Adc34ClockSelection = RCC_ADC34PLLCLK_DIV1;
    PeriphClkInit.I2c1ClockSelection = RCC_I2C1CLKSOURCE_HSI;
    PeriphClkInit.USBClockSelection = RCC_USBCLKSOURCE_PLL;
    PeriphClkInit.Tim2ClockSelection = RCC_TIM2CLK_HCLK;
    if (HAL_RCCEx_PeriphCLKConfig(&PeriphClkInit) != HAL_OK)
    {
        Error_Handler();
    }
}

static void MX_ADC1_Init(void)
{

    ADC_MultiModeTypeDef multimode = {0};
    ADC_ChannelConfTypeDef sConfig = {0};

    /** Common config
     */
    hadc1.Instance = ADC1;
    hadc1.Init.ClockPrescaler = ADC_CLOCK_ASYNC_DIV1;
    hadc1.Init.Resolution = ADC_RESOLUTION_8B;
    hadc1.Init.ScanConvMode = ADC_SCAN_DISABLE;
    hadc1.Init.ContinuousConvMode = ENABLE;
    hadc1.Init.DiscontinuousConvMode = DISABLE;
    hadc1.Init.ExternalTrigConvEdge = ADC_EXTERNALTRIGCONVEDGE_NONE;
    hadc1.Init.ExternalTrigConv = ADC_SOFTWARE_START;
    hadc1.Init.DataAlign = ADC_DATAALIGN_RIGHT;
    hadc1.Init.NbrOfConversion = 1;
    hadc1.Init.DMAContinuousRequests = DISABLE;
    hadc1.Init.EOCSelection = ADC_EOC_SINGLE_CONV;
    hadc1.Init.LowPowerAutoWait = DISABLE;
    hadc1.Init.Overrun = ADC_OVR_DATA_OVERWRITTEN;
    if (HAL_ADC_Init(&hadc1) != HAL_OK)
    {
        Error_Handler();
    }

    /** Configure the ADC multi-mode
     */
    multimode.Mode = ADC_MODE_INDEPENDENT;
    if (HAL_ADCEx_MultiModeConfigChannel(&hadc1, &multimode) != HAL_OK)
    {
        Error_Handler();
    }

    /** Configure Regular Channel
     */
    sConfig.Channel = ADC_CHANNEL_1;
    sConfig.Rank = ADC_REGULAR_RANK_1;
    sConfig.SingleDiff = ADC_SINGLE_ENDED;
    sConfig.SamplingTime = ADC_SAMPLETIME_1CYCLE_5;
    sConfig.OffsetNumber = ADC_OFFSET_NONE;
    sConfig.Offset = 0;
    if (HAL_ADC_ConfigChannel(&hadc1, &sConfig) != HAL_OK)
    {
        Error_Handler();
    }
}

static void MX_ADC3_Init(void)
{

    ADC_MultiModeTypeDef multimode = {0};
    ADC_ChannelConfTypeDef sConfig = {0};

    /** Common config
     */
    hadc3.Instance = ADC3;
    hadc3.Init.ClockPrescaler = ADC_CLOCK_ASYNC_DIV1;
    hadc3.Init.Resolution = ADC_RESOLUTION_12B;
    hadc3.Init.ScanConvMode = ADC_SCAN_DISABLE;
    hadc3.Init.ContinuousConvMode = ENABLE;
    hadc3.Init.DiscontinuousConvMode = DISABLE;
    hadc3.Init.ExternalTrigConvEdge = ADC_EXTERNALTRIGCONVEDGE_NONE;
    hadc3.Init.ExternalTrigConv = ADC_SOFTWARE_START;
    hadc3.Init.DataAlign = ADC_DATAALIGN_RIGHT;
    hadc3.Init.NbrOfConversion = 1;
    hadc3.Init.DMAContinuousRequests = ENABLE;
    hadc3.Init.EOCSelection = ADC_EOC_SINGLE_CONV;
    hadc3.Init.LowPowerAutoWait = DISABLE;
    hadc3.Init.Overrun = ADC_OVR_DATA_OVERWRITTEN;
    if (HAL_ADC_Init(&hadc3) != HAL_OK)
    {
        Error_Handler();
    }

    /** Configure the ADC multi-mode
     */
    multimode.Mode = ADC_MODE_INDEPENDENT;
    if (HAL_ADCEx_MultiModeConfigChannel(&hadc3, &multimode) != HAL_OK)
    {
        Error_Handler();
    }

    /** Configure Regular Channel
     */
    sConfig.Channel = ADC_CHANNEL_1;
    sConfig.Rank = ADC_REGULAR_RANK_1;
    sConfig.SingleDiff = ADC_SINGLE_ENDED;
    sConfig.SamplingTime = ADC_SAMPLETIME_19CYCLES_5;
    sConfig.OffsetNumber = ADC_OFFSET_NONE;
    sConfig.Offset = 0;
    if (HAL_ADC_ConfigChannel(&hadc3, &sConfig) != HAL_OK)
    {
        Error_Handler();
    }
}

static void MX_DAC1_Init(void)
{

    DAC_ChannelConfTypeDef sConfig = {0};

    /** DAC Initialization
     */
    hdac1.Instance = DAC1;
    if (HAL_DAC_Init(&hdac1) != HAL_OK)
    {
        Error_Handler();
    }

    /** DAC channel OUT1 config
     */
    sConfig.DAC_Trigger = DAC_TRIGGER_T2_TRGO;
    sConfig.DAC_OutputBuffer = DAC_OUTPUTBUFFER_ENABLE;
    if (HAL_DAC_ConfigChannel(&hdac1, &sConfig, DAC_CHANNEL_1) != HAL_OK)
    {
        Error_Handler();
    }
}

static void MX_I2C1_Init(void)
{

    hi2c1.Instance = I2C1;
    hi2c1.Init.Timing = 0x00201D2B;
    hi2c1.Init.OwnAddress1 = 0;
    hi2c1.Init.AddressingMode = I2C_ADDRESSINGMODE_7BIT;
    hi2c1.Init.DualAddressMode = I2C_DUALADDRESS_DISABLE;
    hi2c1.Init.OwnAddress2 = 0;
    hi2c1.Init.OwnAddress2Masks = I2C_OA2_NOMASK;
    hi2c1.Init.GeneralCallMode = I2C_GENERALCALL_DISABLE;
    hi2c1.Init.NoStretchMode = I2C_NOSTRETCH_DISABLE;
    if (HAL_I2C_Init(&hi2c1) != HAL_OK)
    {
        Error_Handler();
    }

    /** Configure Analogue filter
     */
    if (HAL_I2CEx_ConfigAnalogFilter(&hi2c1, I2C_ANALOGFILTER_ENABLE) != HAL_OK)
    {
        Error_Handler();
    }

    /** Configure Digital filter
     */
    if (HAL_I2CEx_ConfigDigitalFilter(&hi2c1, 0) != HAL_OK)
    {
        Error_Handler();
    }
}

static void MX_OPAMP2_Init(void)
{

    hopamp2.Instance = OPAMP2;
    hopamp2.Init.Mode = OPAMP_STANDALONE_MODE;
    hopamp2.Init.NonInvertingInput = OPAMP_NONINVERTINGINPUT_IO2;
    hopamp2.Init.InvertingInput = OPAMP_INVERTINGINPUT_IO1;
    hopamp2.Init.TimerControlledMuxmode = OPAMP_TIMERCONTROLLEDMUXMODE_DISABLE;
    hopamp2.Init.UserTrimming = OPAMP_TRIMMING_FACTORY;
    if (HAL_OPAMP_Init(&hopamp2) != HAL_OK)
    {
        Error_Handler();
    }
}

static void MX_OPAMP3_Init(void)
{

    hopamp3.Instance = OPAMP3;
    hopamp3.Init.Mode = OPAMP_STANDALONE_MODE;
    hopamp3.Init.NonInvertingInput = OPAMP_NONINVERTINGINPUT_IO1;
    hopamp3.Init.InvertingInput = OPAMP_INVERTINGINPUT_IO1;
    hopamp3.Init.TimerControlledMuxmode = OPAMP_TIMERCONTROLLEDMUXMODE_DISABLE;
    hopamp3.Init.UserTrimming = OPAMP_TRIMMING_FACTORY;
    if (HAL_OPAMP_Init(&hopamp3) != HAL_OK)
    {
        Error_Handler();
    }
}

static void MX_OPAMP4_Init(void)
{

    hopamp4.Instance = OPAMP4;
    hopamp4.Init.Mode = OPAMP_STANDALONE_MODE;
    hopamp4.Init.NonInvertingInput = OPAMP_NONINVERTINGINPUT_IO3;
    hopamp4.Init.InvertingInput = OPAMP_INVERTINGINPUT_IO0;
    hopamp4.Init.TimerControlledMuxmode = OPAMP_TIMERCONTROLLEDMUXMODE_DISABLE;
    hopamp4.Init.UserTrimming = OPAMP_TRIMMING_FACTORY;
    if (HAL_OPAMP_Init(&hopamp4) != HAL_OK)
    {
        Error_Handler();
    }
}

static void MX_TIM2_Init(void)
{

    TIM_ClockConfigTypeDef sClockSourceConfig = {0};
    TIM_MasterConfigTypeDef sMasterConfig = {0};
    TIM_OC_InitTypeDef sConfigOC = {0};

    htim2.Instance = TIM2;
    htim2.Init.Prescaler = 1000 - 1;
    htim2.Init.CounterMode = TIM_COUNTERMODE_UP;
    htim2.Init.Period = 1184;
    htim2.Init.ClockDivision = TIM_CLOCKDIVISION_DIV1;
    htim2.Init.AutoReloadPreload = TIM_AUTORELOAD_PRELOAD_DISABLE;
    if (HAL_TIM_Base_Init(&htim2) != HAL_OK)
    {
        Error_Handler();
    }
    sClockSourceConfig.ClockSource = TIM_CLOCKSOURCE_INTERNAL;
    if (HAL_TIM_ConfigClockSource(&htim2, &sClockSourceConfig) != HAL_OK)
    {
        Error_Handler();
    }
    if (HAL_TIM_OC_Init(&htim2) != HAL_OK)
    {
        Error_Handler();
    }
    sMasterConfig.MasterOutputTrigger = TIM_TRGO_UPDATE;
    sMasterConfig.MasterSlaveMode = TIM_MASTERSLAVEMODE_DISABLE;
    if (HAL_TIMEx_MasterConfigSynchronization(&htim2, &sMasterConfig) != HAL_OK)
    {
        Error_Handler();
    }
    sConfigOC.OCMode = TIM_OCMODE_TIMING;
    sConfigOC.Pulse = 0;
    sConfigOC.OCPolarity = TIM_OCPOLARITY_HIGH;
    sConfigOC.OCFastMode = TIM_OCFAST_DISABLE;
    if (HAL_TIM_OC_ConfigChannel(&htim2, &sConfigOC, TIM_CHANNEL_1) != HAL_OK)
    {
        Error_Handler();
    }
}

static void MX_DMA_Init(void)
{

    /* DMA controller clock enable */
    __HAL_RCC_DMA1_CLK_ENABLE();
    __HAL_RCC_DMA2_CLK_ENABLE();

    /* Configure DMA request hdma_memtomem_dma1_channel1 on DMA1_Channel1 */
    hdma_memtomem_dma1_channel1.Instance = DMA1_Channel1;
    hdma_memtomem_dma1_channel1.Init.Direction = DMA_MEMORY_TO_MEMORY;
    hdma_memtomem_dma1_channel1.Init.PeriphInc = DMA_PINC_ENABLE;
    hdma_memtomem_dma1_channel1.Init.MemInc = DMA_MINC_ENABLE;
    hdma_memtomem_dma1_channel1.Init.PeriphDataAlignment = DMA_PDATAALIGN_HALFWORD;
    hdma_memtomem_dma1_channel1.Init.MemDataAlignment = DMA_MDATAALIGN_HALFWORD;
    hdma_memtomem_dma1_channel1.Init.Mode = DMA_NORMAL;
    hdma_memtomem_dma1_channel1.Init.Priority = DMA_PRIORITY_LOW;
    if (HAL_DMA_Init(&hdma_memtomem_dma1_channel1) != HAL_OK)
    {
        Error_Handler();
    }

    /* DMA interrupt init */
    /* DMA1_Channel3_IRQn interrupt configuration */
    HAL_NVIC_SetPriority(DMA1_Channel3_IRQn, 5, 0);
    HAL_NVIC_EnableIRQ(DMA1_Channel3_IRQn);
    /* DMA2_Channel5_IRQn interrupt configuration */
    HAL_NVIC_SetPriority(DMA2_Channel5_IRQn, 5, 0);
    HAL_NVIC_EnableIRQ(DMA2_Channel5_IRQn);
}

static void MX_GPIO_Init(void)
{
    GPIO_InitTypeDef GPIO_InitStruct = {0};

    /* GPIO Ports Clock Enable */
    __HAL_RCC_GPIOC_CLK_ENABLE();
    __HAL_RCC_GPIOF_CLK_ENABLE();
    __HAL_RCC_GPIOA_CLK_ENABLE();
    __HAL_RCC_GPIOB_CLK_ENABLE();
    __HAL_RCC_GPIOD_CLK_ENABLE();

    /*Configure GPIO pin Output Level */
    HAL_GPIO_WritePin(nNVM_WE_GPIO_Port, nNVM_WE_Pin, GPIO_PIN_SET);

    /*Configure GPIO pin Output Level */
    HAL_GPIO_WritePin(STATUS_LED_GPIO_Port, STATUS_LED_Pin, GPIO_PIN_RESET);

    /*Configure GPIO pin Output Level */
    HAL_GPIO_WritePin(LED_STATUS_GPIO_Port, LED_STATUS_Pin, GPIO_PIN_RESET);

    /*Configure GPIO pins : nNVM_WE_Pin STATUS_LED_Pin */
    GPIO_InitStruct.Pin = nNVM_WE_Pin | STATUS_LED_Pin;
    GPIO_InitStruct.Mode = GPIO_MODE_OUTPUT_PP;
    GPIO_InitStruct.Pull = GPIO_NOPULL;
    GPIO_InitStruct.Speed = GPIO_SPEED_FREQ_LOW;
    HAL_GPIO_Init(GPIOC, &GPIO_InitStruct);

    /*Configure GPIO pins : SWITCH_A_Pin SWITCH_B_Pin SWITCH_C_Pin */
    GPIO_InitStruct.Pin = SWITCH_A_Pin | SWITCH_B_Pin | SWITCH_C_Pin;
    GPIO_InitStruct.Mode = GPIO_MODE_INPUT;
    GPIO_InitStruct.Pull = GPIO_NOPULL;
    HAL_GPIO_Init(GPIOC, &GPIO_InitStruct);

    /*Configure GPIO pins : BTN_C_Pin BTN_B_Pin BTN_A_Pin */
    GPIO_InitStruct.Pin = BTN_C_Pin | BTN_B_Pin | BTN_A_Pin;
    GPIO_InitStruct.Mode = GPIO_MODE_IT_RISING;
    GPIO_InitStruct.Pull = GPIO_NOPULL;
    HAL_GPIO_Init(GPIOA, &GPIO_InitStruct);

    /*Configure GPIO pin : LED_STATUS_Pin */
    GPIO_InitStruct.Pin = LED_STATUS_Pin;
    GPIO_InitStruct.Mode = GPIO_MODE_OUTPUT_PP;
    GPIO_InitStruct.Pull = GPIO_NOPULL;
    GPIO_InitStruct.Speed = GPIO_SPEED_FREQ_LOW;
    HAL_GPIO_Init(LED_STATUS_GPIO_Port, &GPIO_InitStruct);

    /* EXTI interrupt init*/
    HAL_NVIC_SetPriority(EXTI9_5_IRQn, 5, 0);
    HAL_NVIC_EnableIRQ(EXTI9_5_IRQn);

    HAL_NVIC_SetPriority(EXTI15_10_IRQn, 5, 0);
    HAL_NVIC_EnableIRQ(EXTI15_10_IRQn);

}

/* USER CODE BEGIN 4 */

void HAL_GPIO_EXTI_Callback(uint16_t gpio_pin)
{
    peripheral_on_gpio_exti(&peripheral_dispatch_context, &peripheral_dispatch_ops, gpio_pin);
}

void HAL_ADC_ConvHalfCpltCallback(ADC_HandleTypeDef *hadc)
{
    peripheral_on_adc_half_complete(&peripheral_dispatch_context, &peripheral_dispatch_ops, hadc);
}

void HAL_ADC_ConvCpltCallback(ADC_HandleTypeDef *hadc)
{
    peripheral_on_adc_complete(&peripheral_dispatch_context, &peripheral_dispatch_ops, hadc);
}

void HAL_DAC_ConvHalfCpltCallbackCh1(DAC_HandleTypeDef *hdac)
{
    peripheral_on_dac_half_complete(&peripheral_dispatch_context, &peripheral_dispatch_ops, hdac);
}

void HAL_DAC_ConvCpltCallbackCh1(DAC_HandleTypeDef *hdac)
{
    peripheral_on_dac_complete(&peripheral_dispatch_context, &peripheral_dispatch_ops, hdac);
}

void HAL_I2C_MasterTxCpltCallback(I2C_HandleTypeDef *hi2c)
{
    peripheral_on_i2c_tx_complete(&peripheral_dispatch_context, &peripheral_dispatch_ops, hi2c);
}

void HAL_I2C_MasterRxCpltCallback(I2C_HandleTypeDef *hi2c)
{
    peripheral_on_i2c_rx_complete(&peripheral_dispatch_context, &peripheral_dispatch_ops, hi2c);
}

void HAL_I2C_ErrorCallback(I2C_HandleTypeDef *hi2c)
{
    peripheral_on_i2c_error(&peripheral_dispatch_context, &peripheral_dispatch_ops, hi2c);
}

void HAL_I2C_AbortCpltCallback(I2C_HandleTypeDef *hi2c)
{
    peripheral_on_i2c_abort_complete(&peripheral_dispatch_context, &peripheral_dispatch_ops, hi2c);
}

void hal_dma_cplt_callback(DMA_HandleTypeDef *hdma)
{
    peripheral_on_dma_complete(&peripheral_dispatch_context, &peripheral_dispatch_ops, hdma);
}
/* USER CODE END 4 */

void startEffectsTask(void const *argument)
{
    /* init code for USB_DEVICE */
    MX_USB_DEVICE_Init();
    /* USER CODE BEGIN 5 */
    // TIM2 TRGO clocks DAC DMA, so update rate is the audio sample rate.
    // Read TIM2 input clock directly from RCC peripheral clock config.
    const uint32_t tim2_clock_hz = HAL_RCCEx_GetPeriphCLKFreq(RCC_PERIPHCLK_TIM2);
    if (tim2_clock_hz == 0U)
    {
        vTaskDelete(NULL);
        return;
    }
    const uint32_t audio_sample_rate_hz = tim_get_update_rate_hz(&htim2, tim2_clock_hz);
    const uint32_t sampling_period_us = sampling_period_us_from_rate_hz(audio_sample_rate_hz);

    if (sampling_period_us == 0U)
    {
        vTaskDelete(NULL);
        return;
    }

    EffectsPipeline effects_pipeline;
    if (effects_pipeline_init(&effects_pipeline) != 0)
    {
        vTaskDelete(NULL);
        return;
    }

    EffectsTaskContext task_context = {
        .pipeline = &effects_pipeline,
        .effects_state = &effects_state,
        .effects_params = &effects_params,
        .adc_buf_a = (uint16_t *)adc_buf_a,
        .adc_buf_b = (uint16_t *)adc_buf_b,
        .dac_buf_a = (uint16_t *)dac_buf_a,
        .dac_buf_b = (uint16_t *)dac_buf_b,
        .sample_buf_len = SAMPLE_BUF_LEN,
        .sampling_period_us = sampling_period_us,
        .processing_slack_ms = 2,
    };

    cli_service_adapter_set_audio_info(&cli_service_adapter_context,
                                       audio_sample_rate_hz,
                                       SAMPLE_BUF_LEN,
                                       sampling_period_us,
                                       NUM_DELAY_SAMPLES,
                                       2);

    EffectsTaskOps task_ops = {
        .wait_for_adc_buffer = effects_task_wait_for_adc_buffer,
        .wait_for_dac_buffer = effects_task_wait_for_dac_buffer,
        .dma_copy = effects_task_dma_copy,
        .read_latched_state = effects_task_read_latched_state,
        .report_failure = NULL,
        .ms_to_ticks = effects_task_ms_to_ticks,
        .context = NULL,
    };

    /* Start ADC and DAC. Note: ADC expects buffers to be ready to be filled,
                    DAC expects buffers to be ready to be read from. Software must ensure this. */
    if (HAL_ADC_Start_DMA(&hadc3, (uint32_t *)adc_buf, ADC_BUF_LEN) != HAL_OK ||
        HAL_DAC_Start_DMA(&hdac1, DAC_CHANNEL_1, (uint32_t *)dac_buf, DAC_BUF_LEN, DAC_ALIGN_12B_R) != HAL_OK ||
        HAL_TIM_OC_Start(&htim2, TIM_CHANNEL_1) != HAL_OK)
    {
        vTaskDelete(NULL);
        return;
    }

    /* Infinite loop */
    for (;;)
    {
        (void)effects_task_step(&task_context, &task_ops);
    }
    /* USER CODE END 5 */
}

void startBtnHandlerTask(void const *argument)
{
    /* USER CODE BEGIN startBtnHandlerTask */
    ButtonTaskOps task_ops = {
        .wait_for_button = button_task_wait_for_button,
        .dispatch_button = button_task_dispatch,
        .context = NULL,
    };

    /* Infinite loop */
    for (;;)
    {
        (void)button_task_step(&task_ops);
    }
    /* USER CODE END startBtnHandlerTask */
}

void startSwHandlerTask(void const *argument)
{
    /* USER CODE BEGIN startSwHandlerTask */
    SwitchTaskContext task_context = {
        .polling_frequency_ms = 5,
    };

    SwitchTaskOps task_ops = {
        .read_switch = switch_task_read_switch,
        .read_state = switch_task_read_state,
        .write_state = switch_task_write_state,
        .sleep_ms = switch_task_sleep_ms,
        .context = &cli_service_adapter_context,
    };

    /* Infinite loop */
    for (;;)
    {
        (void)switch_task_step(&task_context, &task_ops);
    }
    /* USER CODE END startSwHandlerTask */
}

void startPotHandlerTask(void const *argument)
{
    /* USER CODE BEGIN startPotHandlerTask */
    PotTaskContext task_context = {
        .sampling_frequency_ticks = pdMS_TO_TICKS(5),
        .timeout_slack_ticks = pdMS_TO_TICKS(1),
        .adc_max = UINT8_MAX,
        .pot_count = 4,
    };

    PotTaskOps task_ops = {
        .start_adc = pot_task_start_adc,
        .wait_for_sample = pot_task_wait_for_sample,
        .read_active_effect = pot_task_read_active_effect,
        .apply_pot_sample = pot_task_apply_sample,
        .context = &cli_service_adapter_context,
    };

    /* Infinite loop */
    for (;;)
    {
        (void)pot_task_step(&task_context, &task_ops);
    }
    /* USER CODE END startPotHandlerTask */
}

void startLedTask(void const *argument)
{
    /* USER CODE BEGIN startLedTask */
    const uint16_t blink_frequency_ms = 500;

    /* Infinite loop */
    for (;;)
    {
        // NOLINTNEXTLINE(performance-no-int-to-ptr): STM32 HAL port macros expand to pointer casts.
        HAL_GPIO_TogglePin(LED_STATUS_GPIO_Port, LED_STATUS_Pin);

        osDelay(blink_frequency_ms);
    }
    /* USER CODE END startLedTask */
}

void startI2cHandlerTask(void const *argument)
{
    /* USER CODE BEGIN startI2cHandlerTask */
    /* Infinite loop */
    for (;;)
    {
        I2CHandlerMessage message;

        if (xQueueReceive(i2cQueueHandle, (void *)&message, portMAX_DELAY) != pdPASS)
        {
            continue;
        }

        (void)i2c_handler_process_message(
            &message,
            &i2c_handler_config,
            &i2c_handler_ops,
            &i2c_task_support_context);
    }
    /* USER CODE END startI2cHandlerTask */
}

void startRomHandlerTask(void const *argument)
{
    /* USER CODE BEGIN startRomHandlerTask */
    const uint16_t update_frequency_ms = 5000;
    const uint16_t bootstrap_retry_delay_ms = 10;

    while (true)
    {
        EffectsState loaded_state;
        EffectsParams loaded_params;

        if (rom_task_bootstrap_effects(
                &rom_task_support_config,
                &rom_task_support_ops,
                &loaded_state,
                &loaded_params))
        {
            taskENTER_CRITICAL();
            effects_state = loaded_state;
            effects_params = loaded_params;
            taskEXIT_CRITICAL();
            break;
        }

        osDelay(bootstrap_retry_delay_ms);
    }

    /* Infinite loop */
    for (;;)
    {
        /* Copy effectsState and effectsParams TO ROM every x seconds */
        taskENTER_CRITICAL(); // Effects configs are accessed by other tasks and this is not atomic
        EffectsState latched_effects_state = effects_state;
        EffectsParams latched_effects_params = effects_params;
        taskEXIT_CRITICAL();
        effects_state_normalize(&latched_effects_state);

        if (!rom_task_save_effects(
                &rom_task_support_config,
                &rom_task_support_ops,
                &latched_effects_state,
                &latched_effects_params))
        {
            continue;
        }

        osDelay(update_frequency_ms);
    }
    /* USER CODE END startRomHandlerTask */
}

void startDisplayHandlerTask(void const *argument)
{
    /* USER CODE BEGIN startDisplayHandlerTask */
    (void)argument;

    cli_service_adapter_bind(&cli_service_adapter_context, &cli_services);
    CliSessionTransport transport = {
        .write = cli_usb_write,
        .context = NULL,
    };
    cli_session_init(&cli_session, &cli_services, &transport);
    (void)cli_session_start(&cli_session);

    /* Infinite loop */
    for (;;)
    {
        (void)cli_session_start(&cli_session);

        uint8_t byte = 0;
        while (cli_usb_rx_queue_pop_byte(&byte))
        {
            cli_session_push_bytes(&cli_session, &byte, 1);
        }

        cli_session_poll(&cli_session);

        osDelay(1);
    }
    /* USER CODE END startDisplayHandlerTask */
}

void HAL_TIM_PeriodElapsedCallback(TIM_HandleTypeDef *htim)
{
    if (htim->Instance == TIM1)
    {
        HAL_IncTick();
    }
}

void Error_Handler(void)
{
    __disable_irq();
    while (1)
    {
    }
}

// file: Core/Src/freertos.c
/* USER CODE BEGIN Header */
/**
 ******************************************************************************
 * File Name          : freertos.c
 * Description        : Code for freertos applications
 ******************************************************************************
 * @attention
 *
 * Copyright (c) 2026 STMicroelectronics.
 * All rights reserved.
 *
 * This software is licensed under terms that can be found in the LICENSE file
 * in the root directory of this software component.
 * If no LICENSE file comes with this software, it is provided AS-IS.
 *
 ******************************************************************************
 */
/* USER CODE END Header */

#include "FreeRTOS.h"
#include "task.h"
#include "main.h"

/* GetIdleTaskMemory prototype (linked to static allocation support) */
void vApplicationGetIdleTaskMemory( StaticTask_t **ppxIdleTaskTCBBuffer, StackType_t **ppxIdleTaskStackBuffer, uint32_t *pulIdleTaskStackSize );

/* USER CODE BEGIN GET_IDLE_TASK_MEMORY */
static StaticTask_t x_idle_task_tcb_buffer;
static StackType_t x_idle_stack[configMINIMAL_STACK_SIZE];

void vApplicationGetIdleTaskMemory(StaticTask_t **ppx_idle_task_tcb_buffer,
                                   StackType_t **ppx_idle_task_stack_buffer,
                                   uint32_t *pul_idle_task_stack_size)
{
    *ppx_idle_task_tcb_buffer = &x_idle_task_tcb_buffer;
    *ppx_idle_task_stack_buffer = &x_idle_stack[0];
    *pul_idle_task_stack_size = configMINIMAL_STACK_SIZE;
    /* place for user code */
}
/* USER CODE END GET_IDLE_TASK_MEMORY */
